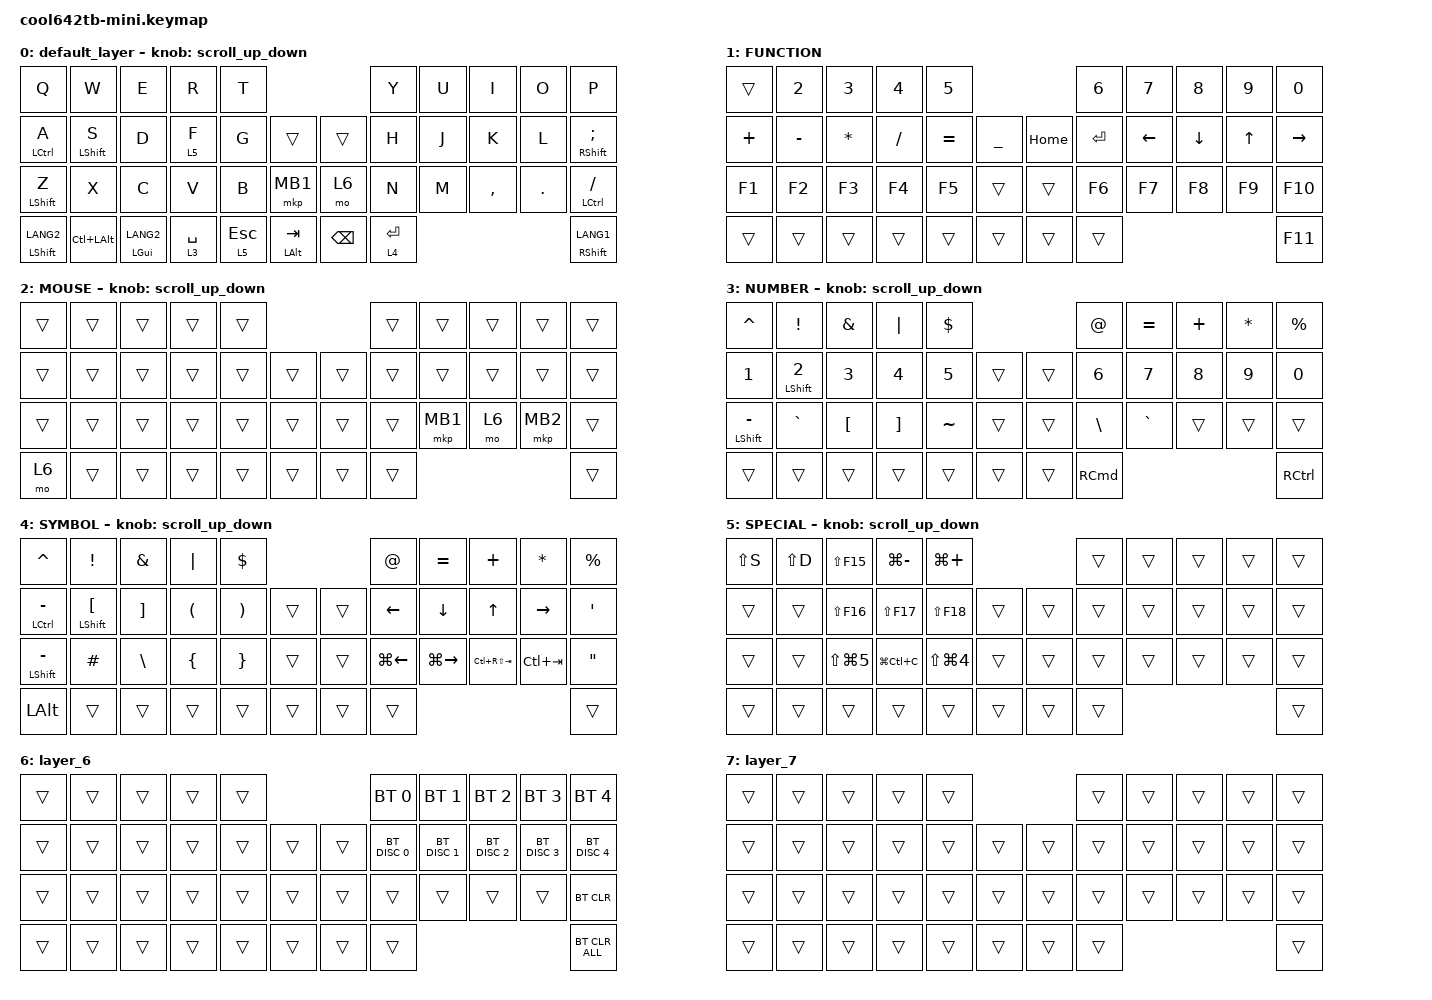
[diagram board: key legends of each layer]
#include <behaviors.dtsi>
#include <dt-bindings/zmk/bt.h>
#include <dt-bindings/zmk/keys.h>
#include <dt-bindings/zmk/pointing.h>

#define MOUSE 4
#define SCROLL 5
#define NUM 6
#define ZMK_POINTING_DEFAULT_SCRL_VAL 80

&mt {
    flavor = "balanced";
    quick-tap-ms = <0>;
};

/ {
    combos {
        compatible = "zmk,combos";

        shift_tab {
            bindings = <&kp LANG2>;
            key-positions = <12 13>;
        };

        lang {
            bindings = <&kp LANG1>;
            key-positions = <18 19>;
        };
    };

    behaviors {
        encoder_msc_down_up: encoder_msc_down_up {
            compatible = "zmk,behavior-sensor-rotate";
            label = "ENCODER_MSC_DOWN_UP";
            #sensor-binding-cells = <0>;
            bindings = <&msc SCRL_UP>, <&msc SCRL_DOWN>;

            tap-ms = <20>;
        };

        scroll_up_down: behavior_sensor_rotate_mouse_wheel_up_down {
            compatible = "zmk,behavior-sensor-rotate";
            #sensor-binding-cells = <0>;
            bindings = <&msc SCRL_UP>, <&msc SCRL_DOWN>;

            tap-ms = <20>;
        };
    };

    keymap {
        compatible = "zmk,keymap";

        default_layer {
            bindings = <
&kp Q                 &kp W             &kp E               &kp R        &kp T                                           &kp Y        &kp U  &kp I      &kp O    &kp P
&mt LEFT_CONTROL A    &mt LEFT_SHIFT S  &kp D               &lt 5 F      &kp G      &trans                &trans         &kp H        &kp J  &kp K      &kp L    &mt RIGHT_SHIFT SEMICOLON
&mt LEFT_SHIFT Z      &kp X             &kp C               &kp V        &kp B      &mkp MB1              &mo 6          &kp N        &kp M  &kp COMMA  &kp DOT  &mt LCTRL SLASH
&mt LEFT_SHIFT LANG2  &kp LC(LEFT_ALT)  &mt LEFT_GUI LANG2  &lt 3 SPACE  &lt 5 ESC  &mt LEFT_ALT TAB      &kp BACKSPACE  &lt 4 ENTER                             &mt RIGHT_SHIFT LANG1
            >;

            sensor-bindings = <&scroll_up_down>;
        };

        FUNCTION {
            bindings = <
&trans    &kp N2     &kp N3     &kp N4     &kp N5                              &kp N6     &kp N7    &kp N8    &kp N9        &kp N0
&kp PLUS  &kp MINUS  &kp ASTRK  &kp SLASH  &kp EQUAL  &kp UNDER      &kp HOME  &kp ENTER  &kp LEFT  &kp DOWN  &kp UP_ARROW  &kp RIGHT
&kp F1    &kp F2     &kp F3     &kp F4     &kp F5     &trans         &trans    &kp F6     &kp F7    &kp F8    &kp F9        &kp F10
&trans    &trans     &trans     &trans     &trans     &trans         &trans    &trans                                       &kp F11
            >;
        };

        MOUSE {
            bindings = <
&trans  &trans  &trans  &trans  &trans                      &trans  &trans    &trans  &trans    &trans
&trans  &trans  &trans  &trans  &trans  &trans      &trans  &trans  &trans    &trans  &trans    &trans
&trans  &trans  &trans  &trans  &trans  &trans      &trans  &trans  &mkp MB1  &mo 6   &mkp MB2  &trans
&mo 6   &trans  &trans  &trans  &trans  &trans      &trans  &trans                              &trans
            >;

            sensor-bindings = <&scroll_up_down>;
        };

        NUMBER {
            bindings = <
&kp CARET             &kp EXCLAMATION          &kp AMPERSAND     &kp PIPE           &kp DOLLAR                        &kp AT             &kp EQUAL     &kp PLUS      &kp ASTRK     &kp PERCENT
&kp NUMBER_1          &mt LEFT_SHIFT NUMBER_2  &kp NUMBER_3      &kp NUMBER_4       &kp NUMBER_5  &trans      &trans  &kp NUMBER_6       &kp NUMBER_7  &kp NUMBER_8  &kp NUMBER_9  &kp NUMBER_0
&mt LEFT_SHIFT MINUS  &kp GRAVE                &kp LEFT_BRACKET  &kp RIGHT_BRACKET  &kp TILDE     &trans      &trans  &kp BACKSLASH      &kp GRAVE     &trans        &trans        &trans
&trans                &trans                   &trans            &trans             &trans        &trans      &trans  &kp RIGHT_COMMAND                                            &kp RIGHT_CONTROL
            >;

            sensor-bindings = <&scroll_up_down>;
        };

        SYMBOL {
            bindings = <
&kp CARET               &kp EXCLAMATION              &kp AMPERSAND      &kp PIPE              &kp DOLLAR                                 &kp AT              &kp EQUAL            &kp PLUS         &kp ASTERISK     &kp PERCENT
&mt LEFT_CONTROL MINUS  &mt LEFT_SHIFT LEFT_BRACKET  &kp RIGHT_BRACKET  &kp LEFT_PARENTHESIS  &kp RIGHT_PARENTHESIS  &trans      &trans  &kp LEFT_ARROW      &kp DOWN_ARROW       &kp UP_ARROW     &kp RIGHT_ARROW  &kp SINGLE_QUOTE
&mt LEFT_SHIFT MINUS    &kp HASH                     &kp BACKSLASH      &kp LEFT_BRACE        &kp RIGHT_BRACE        &trans      &trans  &kp LG(LEFT_ARROW)  &kp LG(RIGHT_ARROW)  &kp LC(RS(TAB))  &kp LC(TAB)      &kp DOUBLE_QUOTES
&kp LEFT_ALT            &trans                       &trans             &trans                &trans                 &trans      &trans  &trans                                                                     &trans
            >;

            sensor-bindings = <&scroll_up_down>;
        };

        SPECIAL {
            bindings = <
&kp LS(S)  &kp LS(D)  &kp LS(F15)           &kp LG(MINUS)  &kp LG(PLUS)                              &trans  &trans  &trans  &trans  &trans
&trans     &trans     &kp LS(F16)           &kp LS(F17)    &kp LS(F18)           &trans      &trans  &trans  &trans  &trans  &trans  &trans
&trans     &trans     &kp LS(LG(NUMBER_5))  &kp LG(LC(C))  &kp LS(LG(NUMBER_4))  &trans      &trans  &trans  &trans  &trans  &trans  &trans
&trans     &trans     &trans                &trans         &trans                &trans      &trans  &trans                          &trans
            >;

            sensor-bindings = <&scroll_up_down>;
        };

        layer_6 {
            bindings = <
&trans  &trans  &trans  &trans  &trans                      &bt BT_SEL 0   &bt BT_SEL 1   &bt BT_SEL 2   &bt BT_SEL 3   &bt BT_SEL 4
&trans  &trans  &trans  &trans  &trans  &trans      &trans  &bt BT_DISC 0  &bt BT_DISC 1  &bt BT_DISC 2  &bt BT_DISC 3  &bt BT_DISC 4
&trans  &trans  &trans  &trans  &trans  &trans      &trans  &trans         &trans         &trans         &trans         &bt BT_CLR
&trans  &trans  &trans  &trans  &trans  &trans      &trans  &trans                                                      &bt BT_CLR_ALL
            >;
        };

        layer_7 {
            bindings = <
&trans  &trans  &trans  &trans  &trans                      &trans  &trans  &trans  &trans  &trans
&trans  &trans  &trans  &trans  &trans  &trans      &trans  &trans  &trans  &trans  &trans  &trans
&trans  &trans  &trans  &trans  &trans  &trans      &trans  &trans  &trans  &trans  &trans  &trans
&trans  &trans  &trans  &trans  &trans  &trans      &trans  &trans                          &trans
            >;
        };
    };
};
